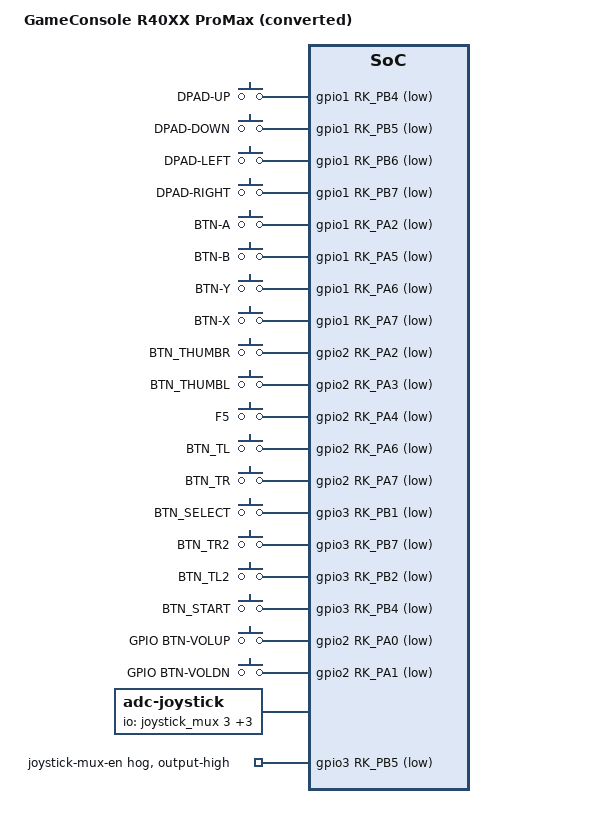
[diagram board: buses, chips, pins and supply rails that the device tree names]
// SPDX-License-Identifier: (GPL-2.0+ OR MIT)
/*
 * GameConsole R40XX ProMax, converted from a vendor RK3326 device tree by
 * `r36os dtb import` (boot-dtb-select D12). Do not edit: import again.
 * Source: arkos4clone/boot/dArkOS/consoles/r40xxpromax/rk3326-r40xxpromax-linux.dtb
 * SHA-256: a84d842f359bd92df8e8fb4db42c624209d959b6d1bc4d158e1ae1953883739c
 * Note: sticks: axes from the ROCKNIX joypad mapping, not measured
 * Note: speaker gain: source spk-volume 3 ignored, the native safe value is used
 */

#include "rk3326-r36s-v5.dts"

/ {
	model = "GameConsole R40XX ProMax (converted)";

	lume-select {
		lume,id = "arkos4clone-r40xxpromax";
		lume,priority = <0>;
		/delete-property/ lume,default;
		/delete-property/ lume,panel-id;
	};

	/delete-node/ gpio-keys;
	/delete-node/ volume-keys;

	gpio-keys {
		compatible = "gpio-keys";
		pinctrl-names = "default";
		pinctrl-0 = <&btn_pins>;

		button-dpad-up {
			gpios = <&gpio1 RK_PB4 GPIO_ACTIVE_LOW>;
			label = "DPAD-UP";
			linux,code = <0x220>;
		};

		button-dpad-down {
			gpios = <&gpio1 RK_PB5 GPIO_ACTIVE_LOW>;
			label = "DPAD-DOWN";
			linux,code = <0x221>;
		};

		button-dpad-left {
			gpios = <&gpio1 RK_PB6 GPIO_ACTIVE_LOW>;
			label = "DPAD-LEFT";
			linux,code = <0x222>;
		};

		button-dpad-right {
			gpios = <&gpio1 RK_PB7 GPIO_ACTIVE_LOW>;
			label = "DPAD-RIGHT";
			linux,code = <0x223>;
		};

		button-btn-a {
			gpios = <&gpio1 RK_PA2 GPIO_ACTIVE_LOW>;
			label = "BTN-A";
			linux,code = <0x131>;
		};

		button-btn-b {
			gpios = <&gpio1 RK_PA5 GPIO_ACTIVE_LOW>;
			label = "BTN-B";
			linux,code = <0x130>;
		};

		button-btn-y {
			gpios = <&gpio1 RK_PA6 GPIO_ACTIVE_LOW>;
			label = "BTN-Y";
			linux,code = <0x134>;
		};

		button-btn-x {
			gpios = <&gpio1 RK_PA7 GPIO_ACTIVE_LOW>;
			label = "BTN-X";
			linux,code = <0x133>;
		};

		button-btn-thumbr {
			gpios = <&gpio2 RK_PA2 GPIO_ACTIVE_LOW>;
			label = "BTN_THUMBR";
			linux,code = <0x2c2>;
		};

		button-btn-thumbl {
			gpios = <&gpio2 RK_PA3 GPIO_ACTIVE_LOW>;
			label = "BTN_THUMBL";
			linux,code = <0x2c3>;
		};

		button-f5 {
			gpios = <&gpio2 RK_PA4 GPIO_ACTIVE_LOW>;
			label = "F5";
			linux,code = <0x2c4>;
		};

		button-btn-tl {
			gpios = <&gpio2 RK_PA6 GPIO_ACTIVE_LOW>;
			label = "BTN_TL";
			linux,code = <0x136>;
		};

		button-btn-tr {
			gpios = <&gpio2 RK_PA7 GPIO_ACTIVE_LOW>;
			label = "BTN_TR";
			linux,code = <0x137>;
		};

		button-btn-select {
			gpios = <&gpio3 RK_PB1 GPIO_ACTIVE_LOW>;
			label = "BTN_SELECT";
			linux,code = <0x2c0>;
		};

		button-btn-tr2 {
			gpios = <&gpio3 RK_PB7 GPIO_ACTIVE_LOW>;
			label = "BTN_TR2";
			linux,code = <0x139>;
		};

		button-btn-tl2 {
			gpios = <&gpio3 RK_PB2 GPIO_ACTIVE_LOW>;
			label = "BTN_TL2";
			linux,code = <0x138>;
		};

		button-btn-start {
			gpios = <&gpio3 RK_PB4 GPIO_ACTIVE_LOW>;
			label = "BTN_START";
			linux,code = <0x2c1>;
		};
	};

	volume-keys {
		compatible = "gpio-keys";
		pinctrl-names = "default";
		pinctrl-0 = <&vol_pins>;
		autorepeat;

		button-gpio-btn-volup {
			gpios = <&gpio2 RK_PA0 GPIO_ACTIVE_LOW>;
			label = "GPIO BTN-VOLUP";
			linux,code = <0x73>;
		};

		button-gpio-btn-voldn {
			gpios = <&gpio2 RK_PA1 GPIO_ACTIVE_LOW>;
			label = "GPIO BTN-VOLDN";
			linux,code = <0x72>;
		};
	};

	/delete-node/ adc-joystick;

	adc-joystick {
		compatible = "adc-joystick";
		io-channels = <&joystick_mux 3>,
			      <&joystick_mux 1>,
			      <&joystick_mux 2>,
			      <&joystick_mux 0>;
		poll-interval = <10>;
		#address-cells = <1>;
		#size-cells = <0>;

		axis@0 {
			reg = <0>;
			abs-flat = <32>;
			abs-fuzz = <32>;
			abs-range = <0 1023>;
			linux,code = <ABS_RY>;
		};

		axis@1 {
			reg = <1>;
			abs-flat = <32>;
			abs-fuzz = <32>;
			abs-range = <0 1023>;
			linux,code = <ABS_RX>;
		};

		axis@2 {
			reg = <2>;
			abs-flat = <32>;
			abs-fuzz = <32>;
			abs-range = <1023 0>;
			linux,code = <ABS_Y>;
		};

		axis@3 {
			reg = <3>;
			abs-flat = <32>;
			abs-fuzz = <32>;
			abs-range = <1023 0>;
			linux,code = <ABS_X>;
		};
	};

	mux-controller {
		mux-gpios = <&gpio3 RK_PB3 GPIO_ACTIVE_LOW>,
			    <&gpio3 RK_PB0 GPIO_ACTIVE_LOW>;
	};

	adc-mux {
		io-channels = <&saradc 1>;
	};

	/delete-node/ gpio-leds;

	rk817-sound {
		simple-audio-card,hp-det-gpios = <&gpio2 RK_PC6 GPIO_ACTIVE_LOW>;
	};
};

&internal_display {
	compatible = "rocknix,generic-dsi";
	/delete-property/ vcc-supply;
	vdd-supply = <&vcc_lcd>;
	reset-gpios = <&gpio3 RK_PC0 GPIO_ACTIVE_LOW>;
	panel_description =
		"G size=52,70 delays=20,150,20,120,20 format=rgb888 lanes=4 flags=0xe03",
		"M clock=60000 horizontal=1024,80,60,86 vertical=768,16,8,8 default=1",
		"I seq=ee01",
		"I seq=ea07",
		"I seq=eb12",
		"I seq=0a8b",
		"I seq=1735",
		"I seq=1d33",
		"I seq=2101",
		"I seq=281c",
		"I seq=2927",
		"I seq=2a63",
		"I seq=2bb5",
		"I seq=2c00",
		"I seq=2d33",
		"I seq=2ff3",
		"I seq=ee02",
		"I seq=3978",
		"I seq=3978 # 2",
		"I seq=0000",
		"I seq=0118",
		"I seq=0215",
		"I seq=0310",
		"I seq=0418",
		"I seq=053f",
		"I seq=0611",
		"I seq=0711",
		"I seq=0811",
		"I seq=090f",
		"I seq=0a10",
		"I seq=0b54",
		"I seq=0c14",
		"I seq=0d17",
		"I seq=0e35",
		"I seq=0f37",
		"I seq=103f",
		"I seq=2000",
		"I seq=2118",
		"I seq=2215",
		"I seq=2310",
		"I seq=2412",
		"I seq=2537",
		"I seq=260b",
		"I seq=270d",
		"I seq=280d",
		"I seq=290b",
		"I seq=2a10",
		"I seq=2b54",
		"I seq=2c14",
		"I seq=2d17",
		"I seq=2e35",
		"I seq=2f37",
		"I seq=303f",
		"I seq=ee04",
		"I seq=0004",
		"I seq=0101",
		"I seq=0280",
		"I seq=0304",
		"I seq=0400",
		"I seq=0616",
		"I seq=0703",
		"I seq=0813",
		"I seq=090a",
		"I seq=0a0f",
		"I seq=0b10",
		"I seq=2280",
		"I seq=2408",
		"I seq=2a00",
		"I seq=ee05",
		"I seq=0004 # 2",
		"I seq=0108",
		"I seq=0255",
		"I seq=0305",
		"I seq=0400 # 2",
		"I seq=0504",
		"I seq=0600",
		"I seq=0713",
		"I seq=081e",
		"I seq=0966",
		"I seq=0d22",
		"I seq=1008",
		"I seq=110c",
		"I seq=1255",
		"I seq=1305",
		"I seq=1914",
		"I seq=1a76",
		"I seq=2300",
		"I seq=4313",
		"I seq=4044",
		"I seq=4100",
		"I seq=3001",
		"I seq=3101",
		"I seq=3200",
		"I seq=3314",
		"I seq=3414",
		"I seq=35b4",
		"I seq=3601",
		"I seq=3701",
		"I seq=3800",
		"I seq=3914",
		"I seq=3a14",
		"I seq=4401",
		"I seq=4581",
		"I seq=4605",
		"I seq=ee06",
		"I seq=0023",
		"I seq=0101 # 2",
		"I seq=0204",
		"I seq=06cd",
		"I seq=0867",
		"I seq=0945",
		"I seq=0a23",
		"I seq=0b01",
		"I seq=ee07",
		"I seq=003c",
		"I seq=0120",
		"I seq=0220",
		"I seq=0321",
		"I seq=0421",
		"I seq=053c",
		"I seq=063c",
		"I seq=0704",
		"I seq=0804",
		"I seq=090c",
		"I seq=0a0c",
		"I seq=0b01 # 2",
		"I seq=0c15",
		"I seq=0d15",
		"I seq=0e17",
		"I seq=0f17",
		"I seq=1011",
		"I seq=1111",
		"I seq=1213",
		"I seq=1313",
		"I seq=140d",
		"I seq=150d",
		"I seq=203c",
		"I seq=2120",
		"I seq=2220",
		"I seq=2321",
		"I seq=2421",
		"I seq=253c",
		"I seq=263c",
		"I seq=2704",
		"I seq=2804",
		"I seq=290c",
		"I seq=2a0c",
		"I seq=2b00",
		"I seq=2c14 # 2",
		"I seq=2d14",
		"I seq=2e16",
		"I seq=2f16",
		"I seq=3010",
		"I seq=3110",
		"I seq=3212",
		"I seq=3312",
		"I seq=340d",
		"I seq=350d",
		"I seq=ee08",
		"I seq=1000",
		"I seq=12da",
		"I seq=1410",
		"I seq=2269",
		"I seq=ee0f",
		"I seq=0001",
		"I seq=0110",
		"I seq=ee00",
		"I seq=ea00",
		"I seq=eb00",
		"I seq=11 wait=c8",
		"I seq=29 wait=14";
};

&dsi {
	rockchip,lane-rate = <400>;
};

&backlight {
	pwms = <&pwm1 0 40000 0>;
	/delete-property/ num-interpolated-steps;
	brightness-levels = <0 1 2 3 4 5 6 7 8 9 10 11 12 13 14 15 16 17 18 19 20 21 22 23 24 25 26 27 28 29 30 31 32 33 34 35 36 37 38 39 40 41 42 43 44 45 46 47 48 49 50 51 52 53 54 55 56 57 58 59 60 61 62 63 64 65 66 67 68 69 70 71 72 73 74 75 76 77 78 79 80 81 82 83 84 85 86 87 88 89 90 91 92 93 94 95 96 97 98 99 100 101 102 103 104 105 106 107 108 109 110 111 112 113 114 115 116 117 118 119 120 121 122 123 124 125 126 127 128 129 130 131 132 133 134 135 136 137 138 139 140 141 142 143 144 145 146 147 148 149 150 151 152 153 154 155 156 157 158 159 160>;
	default-brightness-level = <80>;
};

&battery {
	charge-full-design-microamp-hours = <3380000>;
	voltage-max-design-microvolt = <4045000>;
	voltage-min-design-microvolt = <3165000>;
	ocv-capacity-table-0 = <4045000 100>,
				<4020000 95>,
				<3990000 90>,
				<3950000 85>,
				<3910000 80>,
				<3870000 75>,
				<3830000 70>,
				<3790000 65>,
				<3750000 60>,
				<3710000 55>,
				<3670000 50>,
				<3630000 45>,
				<3580000 40>,
				<3530000 35>,
				<3480000 30>,
				<3430000 25>,
				<3380000 20>,
				<3330000 15>,
				<3280000 10>,
				<3220000 5>,
				<3165000 0>;
};

&spk_amp {
	/delete-property/ enable-gpios;
	/delete-property/ pinctrl-names;
	/delete-property/ pinctrl-0;
};

&rk817 {
	interrupt-parent = <&gpio0>;
	interrupts = <RK_PB2 IRQ_TYPE_LEVEL_LOW>;
};

&rk817 {
	regulators {
		DCDC_REG1 {
			regulator-always-on;
			regulator-boot-on;
			regulator-min-microvolt = <950000>;
			regulator-max-microvolt = <1150000>;
			regulator-name = "vdd_logic";

			regulator-state-mem {
				regulator-on-in-suspend;
				/delete-property/ regulator-off-in-suspend;
				regulator-suspend-microvolt = <950000>;
			};
		};
		DCDC_REG2 {
			regulator-always-on;
			regulator-boot-on;
			regulator-min-microvolt = <950000>;
			regulator-max-microvolt = <1350000>;
			regulator-name = "vdd_arm";

			regulator-state-mem {
				/delete-property/ regulator-on-in-suspend;
				regulator-off-in-suspend;
				regulator-suspend-microvolt = <950000>;
			};
		};
		DCDC_REG3 {
			regulator-always-on;
			regulator-boot-on;
			/delete-property/ regulator-min-microvolt;
			/delete-property/ regulator-max-microvolt;
			regulator-name = "vcc_ddr";

			regulator-state-mem {
				regulator-on-in-suspend;
				/delete-property/ regulator-off-in-suspend;
				/delete-property/ regulator-suspend-microvolt;
			};
		};
		DCDC_REG4 {
			regulator-always-on;
			regulator-boot-on;
			regulator-min-microvolt = <3300000>;
			regulator-max-microvolt = <3300000>;
			regulator-name = "vcc_3v3";

			regulator-state-mem {
				/delete-property/ regulator-on-in-suspend;
				regulator-off-in-suspend;
				regulator-suspend-microvolt = <3300000>;
			};
		};
		LDO_REG1 {
			regulator-min-microvolt = <1000000>;
			regulator-max-microvolt = <1000000>;
			regulator-name = "vcc_1v0";

			regulator-state-mem {
				/delete-property/ regulator-on-in-suspend;
				regulator-off-in-suspend;
				regulator-suspend-microvolt = <1000000>;
			};
		};
		LDO_REG2 {
			regulator-always-on;
			regulator-boot-on;
			regulator-min-microvolt = <1800000>;
			regulator-max-microvolt = <1800000>;
			regulator-name = "vcc1v8_soc";

			regulator-state-mem {
				regulator-on-in-suspend;
				/delete-property/ regulator-off-in-suspend;
				regulator-suspend-microvolt = <1800000>;
			};
		};
		LDO_REG3 {
			regulator-always-on;
			regulator-boot-on;
			regulator-min-microvolt = <1000000>;
			regulator-max-microvolt = <1000000>;
			regulator-name = "vcc1v0_soc";

			regulator-state-mem {
				regulator-on-in-suspend;
				/delete-property/ regulator-off-in-suspend;
				regulator-suspend-microvolt = <1000000>;
			};
		};
		LDO_REG4 {
			regulator-always-on;
			regulator-boot-on;
			regulator-min-microvolt = <3300000>;
			regulator-max-microvolt = <3300000>;
			regulator-name = "vcc3v3_pmu";

			regulator-state-mem {
				regulator-on-in-suspend;
				/delete-property/ regulator-off-in-suspend;
				regulator-suspend-microvolt = <3300000>;
			};
		};
		LDO_REG5 {
			regulator-always-on;
			regulator-boot-on;
			regulator-min-microvolt = <1800000>;
			regulator-max-microvolt = <1800000>;
			regulator-name = "vccio_sd";

			regulator-state-mem {
				regulator-on-in-suspend;
				/delete-property/ regulator-off-in-suspend;
				regulator-suspend-microvolt = <1800000>;
			};
		};
		LDO_REG6 {
			regulator-boot-on;
			regulator-min-microvolt = <1800000>;
			regulator-max-microvolt = <3300000>;
			regulator-name = "vcc_sd";

			regulator-state-mem {
				regulator-on-in-suspend;
				/delete-property/ regulator-off-in-suspend;
				regulator-suspend-microvolt = <3000000>;
			};
		};
		LDO_REG7 {
			regulator-min-microvolt = <3300000>;
			regulator-max-microvolt = <3300000>;
			regulator-name = "vcc_backlight";

			regulator-state-mem {
				/delete-property/ regulator-on-in-suspend;
				regulator-off-in-suspend;
				regulator-suspend-microvolt = <3300000>;
			};
		};
		LDO_REG8 {
			regulator-min-microvolt = <2800000>;
			regulator-max-microvolt = <2800000>;
			regulator-name = "vcc_lcd";

			regulator-state-mem {
				/delete-property/ regulator-on-in-suspend;
				regulator-off-in-suspend;
				regulator-suspend-microvolt = <2800000>;
			};
		};
		LDO_REG9 {
			regulator-always-on;
			regulator-boot-on;
			regulator-min-microvolt = <3300000>;
			regulator-max-microvolt = <3300000>;
			regulator-name = "vcc_wifi";

			regulator-state-mem {
				/delete-property/ regulator-on-in-suspend;
				regulator-off-in-suspend;
				regulator-suspend-microvolt = <3300000>;
			};
		};
		BOOST {
			regulator-always-on;
			regulator-boot-on;
			regulator-min-microvolt = <5000000>;
			regulator-max-microvolt = <5400000>;
			regulator-name = "boost";
			/delete-node/ regulator-state-mem;
		};
		OTG_SWITCH {
			regulator-boot-on;
			/delete-property/ regulator-min-microvolt;
			/delete-property/ regulator-max-microvolt;
			regulator-name = "otg_switch";
			/delete-node/ regulator-state-mem;
		};
	};
};

&io_domains {
	vccio1-supply = <&{/i2c@ff180000/pmic@20/regulators/LDO_REG5}>;
	vccio2-supply = <&{/i2c@ff180000/pmic@20/regulators/LDO_REG5}>;
	vccio3-supply = <&{/i2c@ff180000/pmic@20/regulators/DCDC_REG4}>;
	vccio4-supply = <&{/i2c@ff180000/pmic@20/regulators/DCDC_REG4}>;
	vccio5-supply = <&{/i2c@ff180000/pmic@20/regulators/DCDC_REG4}>;
	vccio6-supply = <&{/i2c@ff180000/pmic@20/regulators/DCDC_REG4}>;
	/delete-property/ vccio-oscgpi-supply;
};

&pmu_io_domains {
	pmuio1-supply = <&{/i2c@ff180000/pmic@20/regulators/LDO_REG4}>;
	pmuio2-supply = <&{/i2c@ff180000/pmic@20/regulators/LDO_REG4}>;
};

&gpio0 {
	/delete-node/ joystick-mux-en-hog;
};

&gpio1 {
	/delete-node/ lcd-enable-hog;
};

&gpio3 {
	/delete-node/ lcd-stbyb-hog;
	joystick-mux-en-hog {
		gpio-hog;
		gpios = <RK_PB5 GPIO_ACTIVE_LOW>;
		output-high;
		line-name = "joystick-mux-en";
	};
};

&btn_pins {
	rockchip,pins =
		<1 RK_PB4 RK_FUNC_GPIO &pcfg_pull_up>,
		<1 RK_PB5 RK_FUNC_GPIO &pcfg_pull_up>,
		<1 RK_PB6 RK_FUNC_GPIO &pcfg_pull_up>,
		<1 RK_PB7 RK_FUNC_GPIO &pcfg_pull_up>,
		<1 RK_PA2 RK_FUNC_GPIO &pcfg_pull_up>,
		<1 RK_PA5 RK_FUNC_GPIO &pcfg_pull_up>,
		<1 RK_PA6 RK_FUNC_GPIO &pcfg_pull_up>,
		<1 RK_PA7 RK_FUNC_GPIO &pcfg_pull_up>,
		<2 RK_PA2 RK_FUNC_GPIO &pcfg_pull_up>,
		<2 RK_PA3 RK_FUNC_GPIO &pcfg_pull_up>,
		<2 RK_PA4 RK_FUNC_GPIO &pcfg_pull_up>,
		<2 RK_PA6 RK_FUNC_GPIO &pcfg_pull_up>,
		<2 RK_PA7 RK_FUNC_GPIO &pcfg_pull_up>,
		<3 RK_PB1 RK_FUNC_GPIO &pcfg_pull_up>,
		<3 RK_PB7 RK_FUNC_GPIO &pcfg_pull_up>,
		<3 RK_PB2 RK_FUNC_GPIO &pcfg_pull_up>,
		<3 RK_PB4 RK_FUNC_GPIO &pcfg_pull_up>;
};

&vol_pins {
	rockchip,pins =
		<2 RK_PA0 RK_FUNC_GPIO &pcfg_pull_up>,
		<2 RK_PA1 RK_FUNC_GPIO &pcfg_pull_up>;
};

&hp_det {
	rockchip,pins = <2 RK_PC6 RK_FUNC_GPIO &pcfg_pull_none>;
};

&pmic_int {
	rockchip,pins = <0 RK_PB2 RK_FUNC_GPIO &pcfg_pull_up>;
};
